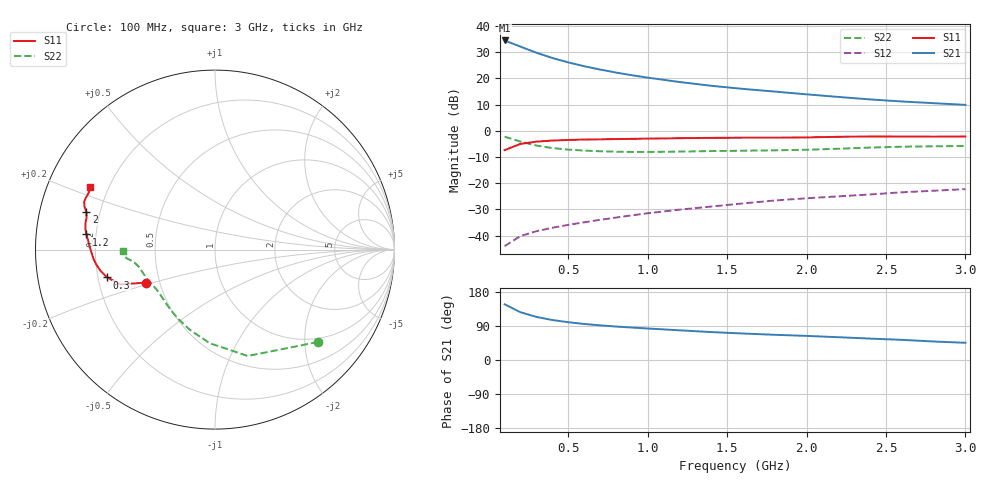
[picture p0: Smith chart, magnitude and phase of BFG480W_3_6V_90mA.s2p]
! Filename: 3_690BFG480.001
! Title: BFG480W
! Bias: Vce=3.6V; Ic=90mA
! Company: Philips Semiconductors NL
! User: Quality&Reliability T&D
! Measure time: 10 Nov 1999 / 12:00:46
#  MHz  S  MA  R 50
! Freq  S11  S21  S12  S22  :
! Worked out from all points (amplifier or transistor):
!   20 points, 100 MHz to 3 GHz, reference 50 ohm
!   highest |S21| = 34.5 dB at 100 MHz (marker M1)
!   |S21| within 3 dB of that: start of sweep to 227.6 MHz
!   unconditionally stable (mu >= 1): 746.9 MHz to end of sweep
!   at 400 MHz: K = 0.79, MSG = 32.4 dB, |S12| = -37.0 dB
!   at 1.2 GHz: K = 1.07, MAG = 22.7 dB, |S12| = -30.1 dB
!   at 3 GHz: K = 1.05, MAG = 14.7 dB, |S12| = -22.3 dB
!   S11 on the Smith chart (normalised r, x): 100 MHz: 0.42, -0.19; 300 MHz: 0.24, -0.12; 1.2 GHz: 0.16, +0.06; 2 GHz: 0.15, +0.14; 3 GHz: 0.13, +0.23
100  0.4273 -154.5  52.79 147.1  0.00628 69.3  0.771 -41.9
200  0.5609 -159.8  40.24 126.0  0.009808 60.3  0.62 -72.9
300  0.62 -165.5  30.8 113.7  0.0121 59.1  0.5218 -93.4
400  0.6499 -169.7  24.47 105.6  0.01408 60.5  0.4677 -107.6
500  0.6675 -173.0  20.17 99.7  0.01598 62.6  0.4371 -117.9
600  0.6786 -175.6  17.03 95.1  0.0179 64.4  0.4187 -125.6
700  0.6862 -177.9  14.72 91.5  0.01997 66.4  0.4064 -131.6
800  0.6929 180.0  12.91 88.3  0.02205 68.2  0.3986 -136.6
900  0.7008 178.1  11.47 85.7  0.02429 70.0  0.3945 -140.9
1000  0.7072 176.3  10.31 83.1  0.02666 71.1  0.3938 -144.7
1200  0.7212 173.3  8.515 78.4  0.03122 72.7  0.4001 -150.9
1400  0.7312 171.0  7.208 73.7  0.0358 73.8  0.4098 -155.5
1600  0.7367 168.6  6.288 69.9  0.04107 74.6  0.4158 -159.0
1800  0.7371 166.0  5.591 66.5  0.04676 75.1  0.423 -162.7
2000  0.7466 163.8  4.949 63.6  0.05145 75.9  0.4341 -167.1
2200  0.7664 161.6  4.417 60.1  0.056 75.7  0.4534 -170.7
2400  0.7762 159.9  3.96 56.5  0.06089 75.2  0.4775 -173.1
2600  0.7754 158.2  3.621 53.2  0.06695 74.5  0.496 -174.5
2800  0.7715 156.0  3.357 48.8  0.07172 73.2  0.505 -176.3
3000  0.7764 153.3  3.117 45.4  0.07706 72.4  0.5124 -179.2
